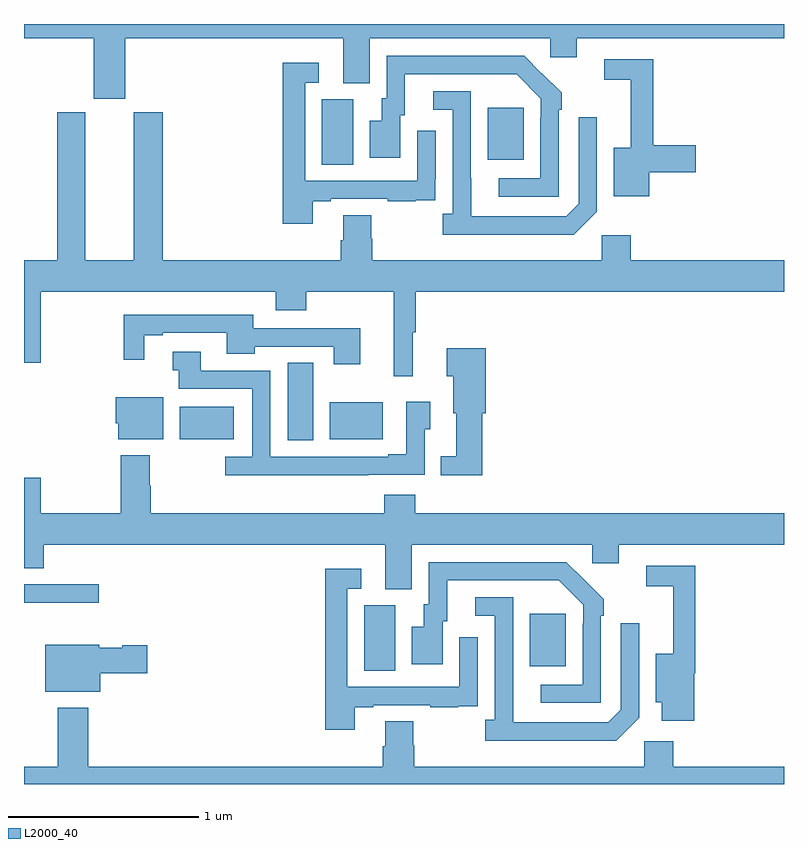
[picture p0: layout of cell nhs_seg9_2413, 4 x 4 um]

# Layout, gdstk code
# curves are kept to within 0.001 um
import gdstk
lib = gdstk.Library(unit=1e-6, precision=1e-09)
def R(c, l, rs):  # rectangles x0, y0, x1, y1
    for r in rs: c.add(gdstk.rectangle(r[:2], r[2:], *l))
def P(c, l, *ps):  # polygons
    for p in ps: c.add(gdstk.Polygon(p, *l))
L2000_40 = (2000, 40)

nhs_seg9_2413 = lib.new_cell('nhs_seg9_2413')
R(nhs_seg9_2413, L2000_40, [(250.79,1189.096,250.954,1189.44), (251.663,1189.121,251.851,1189.396), (250.388,1190.308,250.522,1190.717), (249.821,1190.315,250.105,1190.485), (250.61,1190.315,250.888,1190.509), (250.568,1191.76,250.732,1192.104), (251.441,1191.785,251.629,1192.06)])
P(nhs_seg9_2413, L2000_40, [(249.532,1192.424),(250.679,1192.424),(250.679,1192.189),(250.819,1192.189),(250.819,1192.424),(251.769,1192.424),(251.769,1192.326),(251.908,1192.326),(251.908,1192.424),(253,1192.424),(253,1192.5),(249,1192.5),(249,1192.424),(249.368,1192.424),(249.368,1192.107),(249.532,1192.107)],
  [(251.814,1192.049),(251.829,1192.049),(251.829,1192.137),(251.632,1192.332),(250.908,1192.332),(250.908,1192.11),(250.883,1192.11),(250.883,1191.991),(250.82,1191.991),(250.82,1191.795),(250.981,1191.795),(250.981,1192.02),(251.005,1192.02),(251.005,1192.236),(251.593,1192.236),(251.721,1192.107),(251.721,1192.007),(251.718,1192.007),(251.718,1191.687),(251.499,1191.687),(251.499,1191.591),(251.814,1191.591)],
  [(252.292,1191.721),(252.535,1191.721),(252.535,1191.863),(252.311,1191.863),(252.311,1192.314),(252.054,1192.314),(252.054,1192.206),(252.194,1192.206),(252.194,1191.85),(252.104,1191.85),(252.104,1191.593),(252.292,1191.593)],
  [(250.519,1191.567),(250.615,1191.567),(250.615,1191.579),(250.915,1191.579),(250.915,1191.567),(251.063,1191.567),(251.063,1191.573),(251.165,1191.573),(251.165,1191.682),(251.166,1191.682),(251.166,1191.937),(251.07,1191.937),(251.07,1191.675),(250.479,1191.675),(250.479,1192.191),(250.552,1192.191),(250.552,1192.297),(250.363,1192.297),(250.363,1191.45),(250.519,1191.45)],
  [(252.015,1191.513),(252.015,1192.009),(251.919,1192.009),(251.919,1191.555),(251.853,1191.489),(251.353,1191.489),(251.352,1192.146),(251.154,1192.146),(251.154,1192.05),(251.256,1192.05),(251.256,1191.502),(251.205,1191.502),(251.205,1191.392),(251.894,1191.392)],
  [(250.827,1191.369),(250.827,1191.494),(250.679,1191.494),(250.679,1191.362),(250.667,1191.362),(250.667,1191.256),(249.731,1191.256),(249.731,1192.035),(249.578,1192.035),(249.578,1191.256),(249.322,1191.256),(249.322,1192.035),(249.175,1192.035),(249.175,1191.256),(249,1191.256),(249,1190.718),(249.088,1190.718),(249.088,1191.092),(250.325,1191.092),(250.325,1190.993),(250.485,1190.993),(250.485,1191.092),(250.946,1191.092),(250.946,1190.646),(251.045,1190.646),(251.045,1190.877),(251.063,1190.877),(251.063,1191.092),(253,1191.092),(253,1191.256),(252.194,1191.256),(252.194,1191.388),(252.042,1191.388),(252.042,1191.256),(250.832,1191.256),(250.832,1191.369)],
  [(250.771,1190.898),(250.207,1190.898),(250.207,1190.97),(249.525,1190.97),(249.525,1190.733),(249.634,1190.733),(249.634,1190.862),(249.73,1190.862),(249.73,1190.874),(250.067,1190.874),(250.067,1190.765),(250.215,1190.765),(250.215,1190.802),(250.631,1190.802),(250.631,1190.709),(250.771,1190.709)],
  [(251.411,1190.451),(251.429,1190.451),(251.429,1190.794),(251.225,1190.794),(251.225,1190.647),(251.258,1190.647),(251.258,1190.451),(251.276,1190.451),(251.276,1190.226),(251.194,1190.226),(251.194,1190.126),(251.411,1190.126)],
  [(250.811,1190.127),(251.109,1190.127),(251.109,1190.367),(251.137,1190.367),(251.137,1190.512),(251.013,1190.512),(251.013,1190.236),(250.916,1190.236),(250.916,1190.223),(250.296,1190.223),(250.296,1190.676),(249.931,1190.676),(249.931,1190.775),(249.783,1190.775),(249.783,1190.678),(249.814,1190.678),(249.814,1190.58),(250.2,1190.58),(250.2,1190.223),(250.059,1190.223),(250.059,1190.126),(250.811,1190.126)],
  [(249.733,1190.536),(249.482,1190.536),(249.482,1190.4),(249.497,1190.4),(249.497,1190.315),(249.733,1190.315)],
  [(249,1190.113),(249,1189.636),(249.104,1189.636),(249.104,1189.76),(250.901,1189.76),(250.901,1189.525),(251.041,1189.525),(251.041,1189.76),(251.991,1189.76),(251.991,1189.662),(252.13,1189.662),(252.13,1189.76),(253,1189.76),(253,1189.924),(251.06,1189.924),(251.06,1190.023),(250.895,1190.023),(250.895,1189.924),(249.668,1189.924),(249.668,1190.069),(249.663,1190.069),(249.663,1190.23),(249.508,1190.23),(249.508,1189.924),(249.088,1189.924),(249.088,1190.113)],
  [(252.036,1189.385),(252.051,1189.385),(252.051,1189.473),(251.854,1189.668),(251.13,1189.668),(251.13,1189.446),(251.105,1189.446),(251.105,1189.327),(251.042,1189.327),(251.042,1189.131),(251.203,1189.131),(251.203,1189.356),(251.227,1189.356),(251.227,1189.572),(251.815,1189.572),(251.943,1189.443),(251.943,1189.343),(251.94,1189.343),(251.94,1189.023),(251.721,1189.023),(251.721,1188.927),(252.036,1188.927)],
  [(252.527,1189.082),(252.533,1189.082),(252.533,1189.65),(252.276,1189.65),(252.276,1189.542),(252.416,1189.542),(252.416,1189.186),(252.326,1189.186),(252.326,1188.929),(252.356,1188.929),(252.356,1188.834),(252.527,1188.834)],
  [(250.741,1188.903),(250.837,1188.903),(250.837,1188.915),(251.137,1188.915),(251.137,1188.903),(251.285,1188.903),(251.285,1188.909),(251.387,1188.909),(251.387,1189.018),(251.388,1189.018),(251.388,1189.273),(251.292,1189.273),(251.292,1189.011),(250.701,1189.011),(250.701,1189.527),(250.774,1189.527),(250.774,1189.633),(250.585,1189.633),(250.585,1188.786),(250.741,1188.786)],
  [(249.394,1189.551),(249,1189.551),(249,1189.455),(249.073,1189.455),(249.073,1189.453),(249.394,1189.453)],
  [(252.237,1188.849),(252.237,1189.345),(252.141,1189.345),(252.141,1188.891),(252.075,1188.825),(251.575,1188.825),(251.574,1189.482),(251.376,1189.482),(251.376,1189.386),(251.478,1189.386),(251.478,1188.838),(251.427,1188.838),(251.427,1188.728),(252.116,1188.728)],
  [(249.4,1189.082),(249.649,1189.082),(249.649,1189.229),(249.516,1189.229),(249.516,1189.216),(249.396,1189.216),(249.396,1189.234),(249.113,1189.234),(249.113,1188.986),(249.4,1188.986)],
  [(253,1188.592),(252.416,1188.592),(252.416,1188.724),(252.264,1188.724),(252.264,1188.592),(251.054,1188.592),(251.054,1188.705),(251.049,1188.705),(251.049,1188.83),(250.901,1188.83),(250.901,1188.698),(250.889,1188.698),(250.889,1188.592),(249.338,1188.592),(249.338,1188.901),(249.178,1188.901),(249.178,1188.592),(249,1188.592),(249,1188.5),(253,1188.5)])

lib.write_gds('nhs_seg9_2413.gds')
